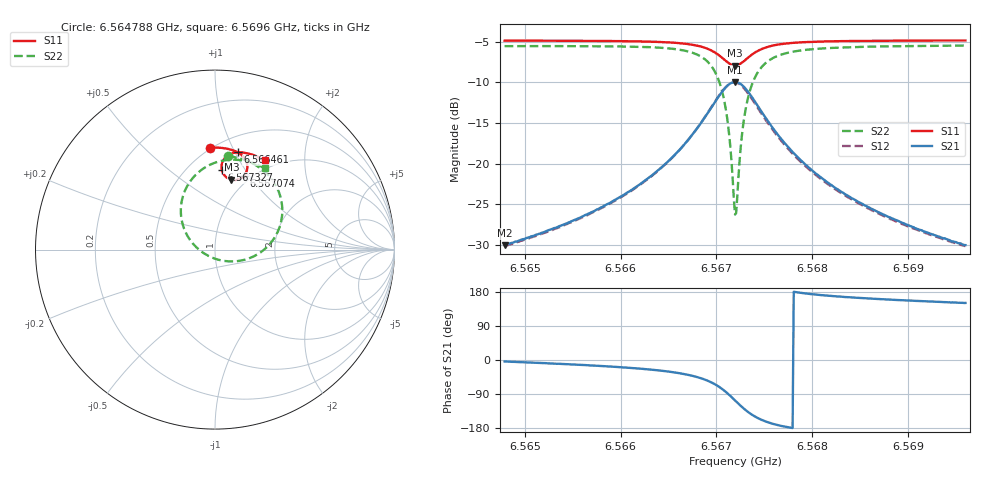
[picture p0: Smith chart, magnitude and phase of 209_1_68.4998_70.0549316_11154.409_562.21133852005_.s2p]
#  HZ  S  RI  R  50.00
! Rohde & Schwarz Vector Network Analyzer
! Rohde-Schwarz,ZNB20-2Port,1311601062101988,3.16
! Created: UTC 3/20/2024, 5:13:04 PM
! freq[Hz]  re:S11  im:S11  re:S21  im:S21  re:S12  im:S12  re:S22  im:S22
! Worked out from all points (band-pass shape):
!   401 points, 6.564788 GHz to 6.5696 GHz, reference 50 ohm
!   highest |S21| = -9.97 dB at 6.567194 GHz (marker M1); lowest = -30.0 dB at 6.564788 GHz (marker M2)
!   |S21| within 3 dB of the highest: 6.566955 GHz to 6.567435 GHz (479.9 kHz wide, 0.00731 % of centre)
!   lowest |S11| = -8.0 dB at 6.567194 GHz (marker M3), VSWR 2.33, Z = 43 + j39.9 ohm
!   |S11| at or under -10 dB: nowhere
!   |S22| runs from -26.2 to -5.5 dB; largest |S21 - S12| = 0.016
!   S11 on the Smith chart (normalised r, x): 6.564788 GHz: 0.49, +0.82; 6.566461 GHz: 0.65, +1.02; 6.567074 GHz: 0.92, +0.94; 6.567327 GHz: 0.71, +0.79; 6.5696 GHz: 0.88, +1.30
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6.5647885e9  -0.0292 0.5683  0.0315 -0.00224  0.0311 -0.00263  0.073 0.5216
6.5655945e9  0.0386 0.5663  0.0461 -0.0105  0.0452 -0.0113  0.1545 0.5035
6.5660396e9  0.08 0.5593  0.0609 -0.0218  0.06 -0.0226  0.2122 0.479
6.5664005e9  0.1184 0.546  0.0816 -0.0425  0.0803 -0.0435  0.2745 0.4363
6.5664606e9  0.1256 0.5424  0.0862 -0.0484  0.0849 -0.0494  0.287 0.4245
6.5667012e9  0.1562 0.5194  0.1081 -0.0876  0.1063 -0.0892  0.3436 0.3481
6.5668817e9  0.1775 0.4826  0.1192 -0.152  0.1161 -0.1553  0.3751 0.2237
6.5669899e9  0.1786 0.4448  0.1029 -0.2183  0.0969 -0.2228  0.3484 0.097
6.5670741e9  0.1597 0.4096  0.0533 -0.2784  0.0428 -0.2816  0.2556 -0.0141
6.5671223e9  0.1372 0.3937  0.00345 -0.3036  -0.01 -0.304  0.1624 -0.0572
6.5671824e9  0.0995 0.3879  -0.0745 -0.3078  -0.0891 -0.3023  0.0209 -0.057
6.5671944e9  0.0917 0.3893  -0.0905 -0.3042  -0.1047 -0.2971  -0.00705 -0.0482
6.5672185e9  0.0768 0.3946  -0.1208 -0.2918  -0.1337 -0.2824  -0.059 -0.0223
6.5672666e9  0.053 0.4133  -0.1693 -0.2528  -0.1783 -0.2399  -0.1391 0.0538
6.5673268e9  0.0378 0.4441  -0.2018 -0.1919  -0.2051 -0.1786  -0.1857 0.165
6.567423e9  0.0412 0.4872  -0.2034 -0.1085  -0.2014 -0.098  -0.1743 0.3106
6.5675674e9  0.0686 0.5227  -0.1676 -0.0397  -0.164 -0.0339  -0.0974 0.426
6.5677358e9  0.1006 0.538  -0.1291 -0.0069  -0.1256 -0.00402  -0.0167 0.4778
6.5680004e9  0.1395 0.5422  -0.0903 0.00999  -0.088 0.0114  0.0691 0.4994
6.5683613e9  0.1796 0.5368  -0.0623 0.0156  -0.0607 0.0162  0.1418 0.4982
6.5688064e9  0.2199 0.5247  -0.0439 0.0164  -0.0428 0.0169  0.2021 0.4851
6.5696004e9  0.2808 0.4967  -0.0275 0.0155  -0.0269 0.0156  0.2778 0.4528
